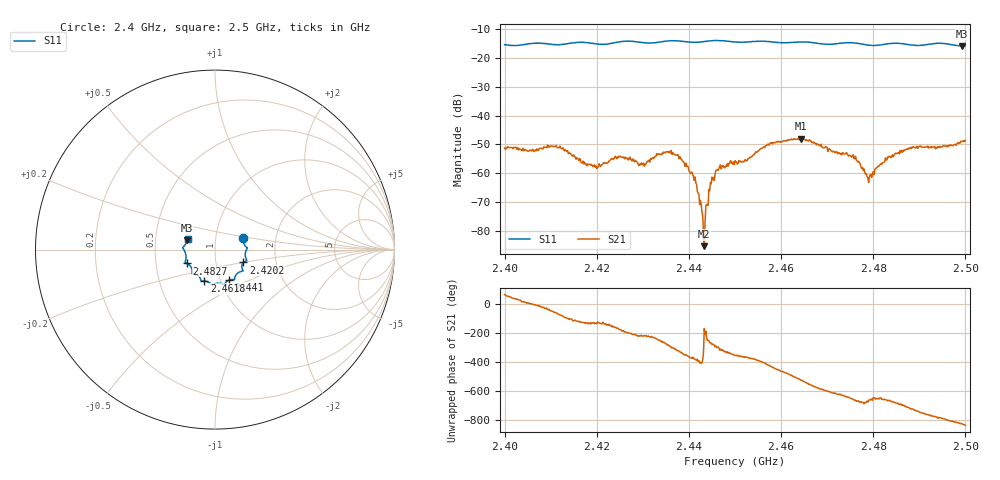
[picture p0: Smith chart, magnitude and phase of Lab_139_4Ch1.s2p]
# Hz S RI R 50
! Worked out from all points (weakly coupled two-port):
!   601 points, 2.4 GHz to 2.5 GHz, reference 50 ohm
!   highest |S21| = -48.03 dB at 2.4643 GHz (marker M1); lowest = -85.4 dB at 2.4433 GHz (marker M2)
!   lowest |S11| = -15.8 dB at 2.4993 GHz (marker M3), VSWR 1.39, Z = 36.5 + j3.82 ohm
!   |S11| at or under -10 dB: start of sweep to end of sweep
!   S12 and S22 are empty: the file has one direction only
!   S11 on the Smith chart (normalised r, x): 2.4 GHz: 1.36, +0.18; 2.4202 GHz: 1.36, -0.20; 2.441 GHz: 1.10, -0.39; 2.4618 GHz: 0.84, -0.30; 2.4827 GHz: 0.72, -0.12; 2.5 GHz: 0.73, +0.09
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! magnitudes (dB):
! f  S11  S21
! 2.4 GHz  -15.4  -51.3
! 2.4107 GHz  -15.4  -50.7
! 2.4167 GHz  -14.6  -56.5
! 2.4202 GHz  -15.2  -58.1
! 2.4252 GHz  -14.3  -54.2
! 2.4303 GHz  -14.7  -57.6
! 2.4333 GHz  -14.5  -53.3
! 2.4372 GHz  -14.0  -53.7
! 2.441 GHz  -14.6  -61.3
! 2.4433 GHz  -14.3  -85.4
! 2.4448 GHz  -14.0  -63.8
! 2.4462 GHz  -13.9  -58.8
! 2.45 GHz  -14.5  -55.7
! 2.4618 GHz  -14.7  -48.6
! 2.4643 GHz  -14.4  -48.0
! 2.4667 GHz  -14.6  -49.5
! 2.4757 GHz  -14.7  -53.6
! 2.4792 GHz  -15.6  -61.4
! 2.4827 GHz  -15.2  -54.7
! 2.4833 GHz  -15.0  -54.5
! 2.4993 GHz  -15.8  -49.1
! 2.5 GHz  -15.7  -48.6
